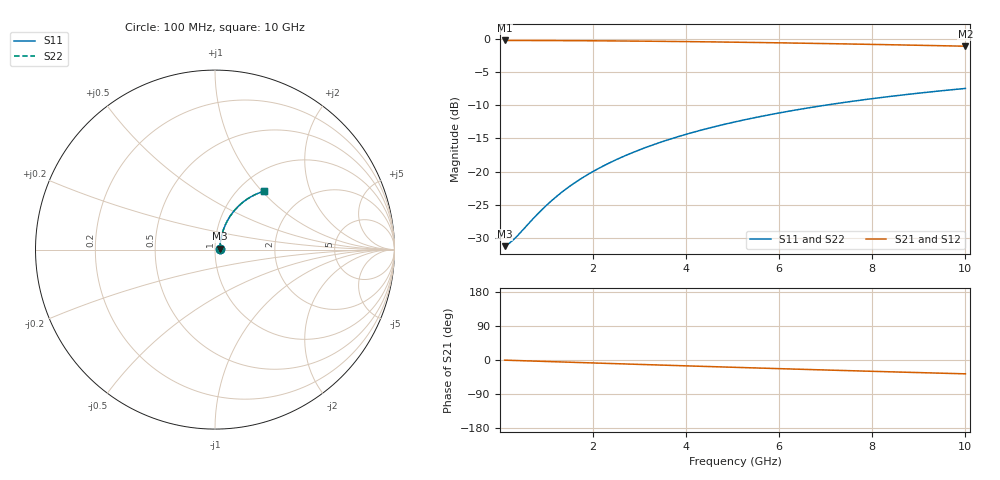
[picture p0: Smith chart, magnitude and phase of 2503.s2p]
# Hz S RI R 50.00
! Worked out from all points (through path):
!   100 points, 100 MHz to 10 GHz, reference 50 ohm
!   highest |S21| = -0.24 dB at 100 MHz (marker M1); lowest = -1.1 dB at 10 GHz (marker M2)
!   group delay of S21, straight-line fit = 10.2 ps
!   lowest |S11| = -31.2 dB at 100 MHz (marker M3), VSWR 1.06, Z = 52.8 + j0.493 ohm
!   |S11| at or under -10 dB: start of sweep to 6.982 GHz
!   |S22| runs from -31.2 to -7.5 dB; largest |S21 - S12| = 0
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1e8  0.0271 0.00467  0.9729 -0.00664  0.9729 -0.00664  0.0271 0.00467
2e8  0.0274 0.00933  0.9726 -0.0133  0.9726 -0.0133  0.0274 0.00933
3e8  0.0276 0.014  0.9723 -0.0199  0.9723 -0.0199  0.0276 0.014
4e8  0.028 0.0186  0.972 -0.0265  0.972 -0.0265  0.028 0.0186
8e8  0.0298 0.0372  0.9701 -0.0529  0.9701 -0.0529  0.0298 0.0372
1.1e9  0.0318 0.051  0.968 -0.0726  0.968 -0.0726  0.0318 0.051
1.4e9  0.0343 0.0647  0.9653 -0.0922  0.9653 -0.0922  0.0343 0.0647
1.6e9  0.0362 0.0737  0.9632 -0.1052  0.9632 -0.1052  0.0362 0.0737
1.8e9  0.0384 0.0827  0.9609 -0.1182  0.9609 -0.1182  0.0384 0.0827
2.1e9  0.0422 0.0961  0.9569 -0.1374  0.9569 -0.1374  0.0422 0.0961
2.5e9  0.048 0.1135  0.9508 -0.1628  0.9508 -0.1628  0.048 0.1135
2.9e9  0.0546 0.1306  0.9437 -0.1877  0.9437 -0.1877  0.0546 0.1306
3.4e9  0.0642 0.1512  0.9335 -0.2182  0.9335 -0.2182  0.0642 0.1512
3.8e9  0.0727 0.1671  0.9244 -0.2421  0.9244 -0.2421  0.0727 0.1671
4.2e9  0.082 0.1825  0.9144 -0.2653  0.9144 -0.2653  0.082 0.1825
4.6e9  0.0921 0.1972  0.9037 -0.288  0.9037 -0.288  0.0921 0.1972
5.1e9  0.1056 0.2147  0.8892 -0.3154  0.8892 -0.3154  0.1056 0.2147
5.9e9  0.129 0.2404  0.864 -0.357  0.864 -0.357  0.129 0.2404
6.7e9  0.1545 0.2631  0.8364 -0.3957  0.8364 -0.3957  0.1545 0.2631
7.5e9  0.1815 0.2828  0.8071 -0.4315  0.8071 -0.4315  0.1815 0.2828
8.4e9  0.2133 0.3013  0.7724 -0.468  0.7724 -0.468  0.2133 0.3013
1e10  0.2717 0.3246  0.7078 -0.5238  0.7078 -0.5238  0.2717 0.3246
